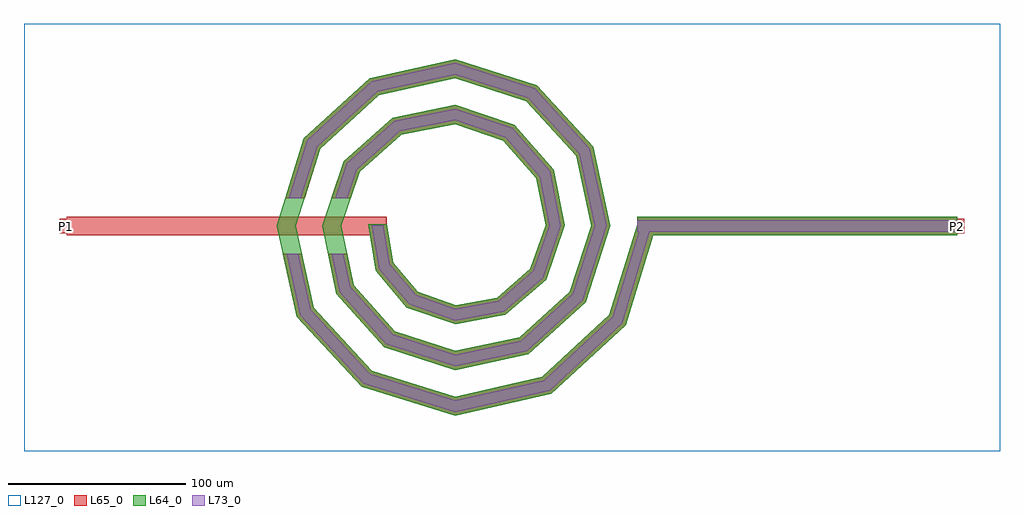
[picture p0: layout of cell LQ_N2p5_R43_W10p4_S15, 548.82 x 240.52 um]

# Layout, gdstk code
import gdstk
lib = gdstk.Library(unit=1e-6, precision=1e-09)
def R(c, l, rs):  # rectangles x0, y0, x1, y1
    for r in rs: c.add(gdstk.rectangle(r[:2], r[2:], *l))
def P(c, l, *ps):  # polygons
    for p in ps: c.add(gdstk.Polygon(p, *l))
L64_0 = (64, 0)
L65_0 = (65, 0)
L73_0 = (73, 0)
L127_0 = (127, 0)

lq_n2p5_r43_w10p4_s15 = lib.new_cell('LQ_N2p5_R43_W10p4_S15')
R(lq_n2p5_r43_w10p4_s15, L64_0, [(102.527,-5.2,282.527,5.2)])
P(lq_n2p5_r43_w10p4_s15, L64_0, [(-34.64,-20.542),(-20.816,-36.953),(0.43,-44.55),(23.702,-40.228),(42.486,-24.072),(50.97,0.381),(45.811,26.873),(27.318,48.025),(0.342,57.391),(-30.052,51.39),(-53.569,30.558),(-63.812,0.31),(-56.966,-33.237),(-33.794,-59.117),(0.284,-70.234),(36.427,-62.54),(64.667,-37.025),(76.656,0.262),(68.113,39.62),(40.253,70.219),(0.243,83.079),(-42.815,73.684),(-75.772,43.48),(-89.501,0.227),(-79.254,-46.013),(-46.704,-81.327),(0.212,-95.924),(49.212,-84.823),(86.883,-49.927),(102.758,1.533),(112.696,-1.533),(95.998,-55.659),(54.232,-94.349),(0.212,-106.684),(-52.459,-90.428),(-88.793,-51.009),(-100.26,0.227),(-84.858,49.26),(-47.783,83.238),(0.243,93.836),(46.063,79.286),(77.683,44.556),(87.412,0.262),(73.712,-42.868),(41.325,-72.131),(0.284,-80.988),(-39.677,-68.137),(-66.579,-38.092),(-74.564,0.31),(-62.559,36.489),(-34.854,61.03),(0.342,68.139),(33.305,56.978),(55.484,31.61),(61.714,0.381),(51.393,-30.129),(28.358,-49.942),(0.43,-55.287),(-26.961,-45.8),(-44.404,-25.094),(-48.618,0.892),(-38.372,0.892)])
R(lq_n2p5_r43_w10p4_s15, L65_0, [(-218.295,-5.2,-38.295,5.2), (102.527,-5.2,282.527,5.2), (-222.295,-4,-214.295,4), (278.527,-4,286.527,4)])
P(lq_n2p5_r43_w10p4_s15, L65_0, [(-79.254,-46.013),(-46.704,-81.327),(0.212,-95.924),(49.212,-84.823),(86.883,-49.927),(102.758,1.533),(112.696,-1.533),(95.998,-55.659),(54.233,-94.349),(0.212,-106.684),(-52.459,-90.428),(-88.793,-51.009),(-96.718,-15.6),(-86.061,-15.6)],
  [(-56.966,-33.237),(-33.794,-59.117),(0.284,-70.234),(36.427,-62.54),(64.667,-37.025),(76.656,0.262),(68.113,39.62),(40.253,70.219),(0.243,83.079),(-42.815,73.684),(-75.772,43.48),(-84.53,15.6),(-95.431,15.6),(-84.858,49.26),(-47.783,83.238),(0.243,93.836),(46.063,79.286),(77.683,44.556),(87.412,0.262),(73.712,-42.868),(41.326,-72.131),(0.284,-80.988),(-39.677,-68.137),(-66.579,-38.092),(-71.256,-15.6),(-60.633,-15.6)],
  [(-20.816,-36.953),(0.43,-44.55),(23.702,-40.228),(42.486,-24.072),(50.97,0.381),(45.811,26.873),(27.318,48.025),(0.342,57.391),(-30.052,51.39),(-53.57,30.558),(-58.533,15.6),(-69.491,15.6),(-62.559,36.489),(-34.854,61.03),(0.342,68.139),(33.305,56.978),(55.484,31.61),(61.714,0.381),(51.393,-30.129),(28.358,-49.942),(0.43,-55.287),(-26.961,-45.8),(-44.404,-25.094),(-48.618,0.892),(-38.373,0.892),(-34.64,-20.542)])
R(lq_n2p5_r43_w10p4_s15, L73_0, [(102.527,-3.2,282.527,3.2)])
P(lq_n2p5_r43_w10p4_s15, L73_0, [(-81.088,-46.974),(-47.811,-83.077),(0.131,-97.993),(50.178,-86.655),(88.636,-51.029),(104.669,0.943),(110.785,0.943),(94.245,-54.557),(53.267,-92.517),(0.131,-104.615),(-51.352,-88.678),(-86.958,-50.048),(-94.668,-15.6),(-88.11,-15.6)],
  [(-58.815,-34.171),(-34.925,-60.852),(0.175,-72.302),(37.369,-64.385),(66.406,-38.149),(78.725,0.161),(69.953,40.569),(41.371,71.962),(0.15,85.148),(-43.771,75.521),(-77.519,44.591),(-86.626,15.6),(-93.335,15.6),(-83.11,48.149),(-46.828,81.4),(0.15,91.768),(44.946,77.542),(75.843,43.607),(85.344,0.161),(71.973,-41.745),(40.383,-70.286),(0.175,-78.92),(-38.545,-66.402),(-64.731,-37.158),(-69.213,-15.6),(-62.676,-15.6)],
  [(-21.998,-38.654),(0.265,-46.615),(24.597,-42.096),(44.199,-25.237),(53.036,0.235),(47.671,27.784),(28.47,49.747),(0.211,59.458),(-30.976,53.244),(-55.298,31.699),(-60.64,15.6),(-67.383,15.6),(-60.831,35.348),(-33.93,59.176),(0.211,66.072),(32.154,55.257),(53.624,30.699),(59.648,0.235),(49.68,-28.964),(27.462,-48.074),(0.265,-53.222),(-25.78,-44.099),(-42.527,-24.219),(-46.648,0.549),(-40.343,0.549),(-36.518,-21.418)])
R(lq_n2p5_r43_w10p4_s15, L127_0, [(-242.295,-126.684,306.527,113.836)])
lq_n2p5_r43_w10p4_s15.add(gdstk.Label('P2', (282.527,0), layer=65, texttype=0))
lq_n2p5_r43_w10p4_s15.add(gdstk.Label('P1', (-218.295,0), layer=65, texttype=0))
lq_n2p5_r43_w10p4_s15.add(gdstk.Label('P2', (286.527,0), layer=145, texttype=0))
lq_n2p5_r43_w10p4_s15.add(gdstk.Label('P1', (-222.295,0), layer=145, texttype=0))

lib.write_gds('LQ_N2p5_R43_W10p4_S15.gds')
